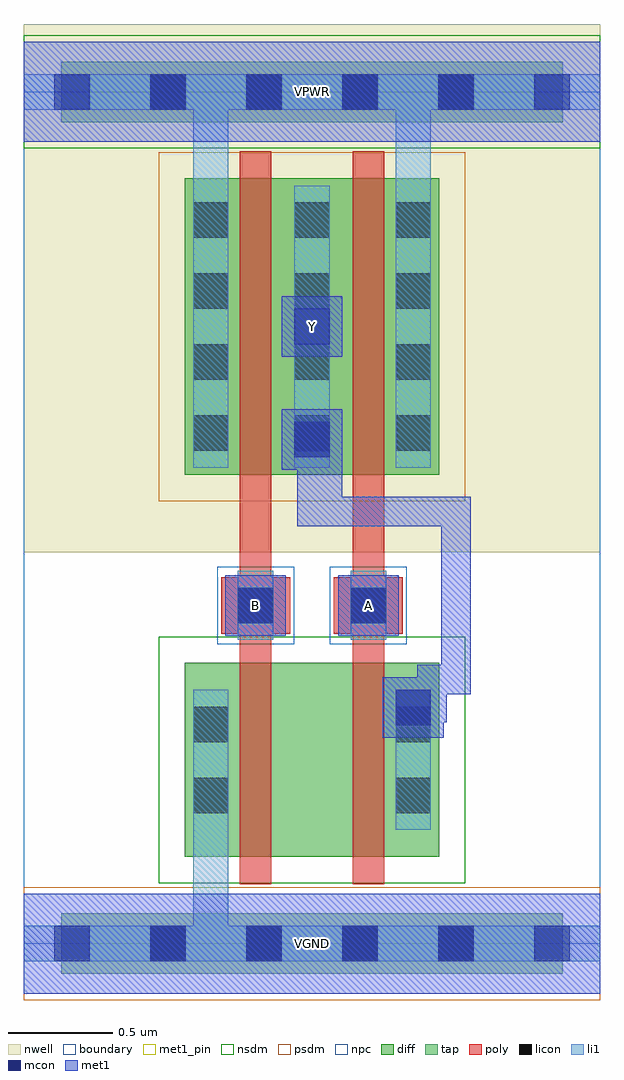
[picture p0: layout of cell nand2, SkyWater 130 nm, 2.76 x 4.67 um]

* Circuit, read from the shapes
.subckt nand2 A B VGND VPWR Y
XM1 n1 B VGND VGND sky130_fd_pr__nfet_01v8 w=0.93 l=0.15
XM2 Y A n1 VGND sky130_fd_pr__nfet_01v8 w=0.93 l=0.15
XM3 Y B VPWR VPWR sky130_fd_pr__pfet_01v8 w=1.42 l=0.15
XM4 VPWR A Y VPWR sky130_fd_pr__pfet_01v8 w=1.42 l=0.15
.ends

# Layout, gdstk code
import gdstk
lib = gdstk.Library(unit=1e-6, precision=1e-09)
def R(c, l, rs):  # rectangles x0, y0, x1, y1
    for r in rs: c.add(gdstk.rectangle(r[:2], r[2:], *l))
def A(c, l, x, y, w, h, nx, ny, dx, dy):  # array of equal rectangles
    R(c, l, [(x+i*dx, y+j*dy, x+i*dx+w, y+j*dy+h) for i in range(nx) for j in range(ny)])
nwell = (64, 20)
diff = (65, 20)
tap = (65, 44)
poly = (66, 20)
licon = (66, 44)
li1 = (67, 20)
mcon = (67, 44)
met1_pin = (68, 16)
met1 = (68, 20)
nsdm = (93, 44)
psdm = (94, 20)
npc = (95, 20)
boundary = (235, 4)

nand2 = lib.new_cell('nand2')
R(nand2, nwell, [(0,1.875,2.76,4.405)])
R(nand2, diff, [(0.77,0.415,1.99,1.345), (0.77,2.245,1.99,3.665)])
R(nand2, tap, [(0.18,-0.145,2.58,0.145), (0.18,3.935,2.58,4.225)])
R(nand2, poly, [(1.035,0.285,1.185,3.795), (1.575,0.285,1.725,3.795), (0.945,1.485,1.275,1.755), (1.485,1.485,1.815,1.755)])
A(nand2, licon, 0.605, -0.085, 0.17, 0.17, 4, 2, 0.46, 4.08)
A(nand2, licon, 0.81, 2.36, 0.17, 0.17, 3, 4, 0.485, 0.34)
R(nand2, licon, [(0.81,0.625,0.98,0.795), (1.78,0.625,1.95,0.795), (0.81,0.965,0.98,1.135), (1.78,0.965,1.95,1.135), (1.025,1.535,1.195,1.705), (1.565,1.535,1.735,1.705)])
A(nand2, li1, 0.81, 2.28, 0.17, 1.35, 3, 1, 0.485, 0)
R(nand2, li1, [(0,-0.085,2.76,0.085), (0.81,-0.085,0.98,1.215), (0.81,0.545,0.98,1.215), (1.78,0.545,1.95,1.215), (1.025,1.455,1.195,1.785), (1.565,1.455,1.735,1.785), (0.81,2.28,0.98,4.165), (1.78,2.28,1.95,4.165), (0,3.995,2.76,4.165)])
A(nand2, mcon, 0.145, -0.085, 0.17, 0.17, 6, 2, 0.46, 4.08)
R(nand2, mcon, [(1.78,1.045,1.95,1.215), (1.025,1.535,1.195,1.705), (1.565,1.535,1.735,1.705), (1.295,2.33,1.465,2.5), (1.295,2.87,1.465,3.04)])
R(nand2, met1_pin, [(0,-0.24,2.76,0.24), (0.965,1.475,1.255,1.765), (1.505,1.475,1.795,1.765), (1.235,2.81,1.525,3.1), (0,3.84,2.76,4.32)])
R(nand2, met1, [(0,-0.24,2.76,0.24), (1.72,0.985,2.01,1.275), (1.795,1.06,2.025,1.2), (1.885,1.06,2.025,1.335), (1.885,1.195,2.14,1.335), (2,1.195,2.14,2.14), (0.965,1.475,1.255,1.765), (1.505,1.475,1.795,1.765), (1.31,2,1.45,2.485), (1.31,2,2.14,2.14), (1.31,2.14,1.525,2.27), (1.235,2.27,1.525,2.56), (1.235,2.81,1.525,3.1), (0,3.84,2.76,4.32)])
R(nand2, nsdm, [(0.645,0.29,2.115,1.47), (0,3.81,2.76,4.35)])
R(nand2, psdm, [(0,-0.27,2.76,0.27), (0.645,2.12,2.115,3.79)])
R(nand2, npc, [(0.925,1.435,1.295,1.805), (1.465,1.435,1.835,1.805)])
R(nand2, boundary, [(0,0,2.76,4.08)])
nand2.add(gdstk.Label('A', (1.65,1.62), layer=68, texttype=5))
nand2.add(gdstk.Label('B', (1.11,1.62), layer=68, texttype=5))
nand2.add(gdstk.Label('Y', (1.38,2.955), layer=68, texttype=5))
nand2.add(gdstk.Label('VPWR', (1.38,4.08), layer=68, texttype=5))
nand2.add(gdstk.Label('VGND', (1.38,0), layer=68, texttype=5))
nand2.add(gdstk.Label('A', (1.65,1.62), layer=68, texttype=16))
nand2.add(gdstk.Label('B', (1.11,1.62), layer=68, texttype=16))
nand2.add(gdstk.Label('Y', (1.38,2.955), layer=68, texttype=16))
nand2.add(gdstk.Label('VPWR', (1.38,4.08), layer=68, texttype=16))
nand2.add(gdstk.Label('VGND', (1.38,0), layer=68, texttype=16))

lib.write_gds('nand2.gds')
